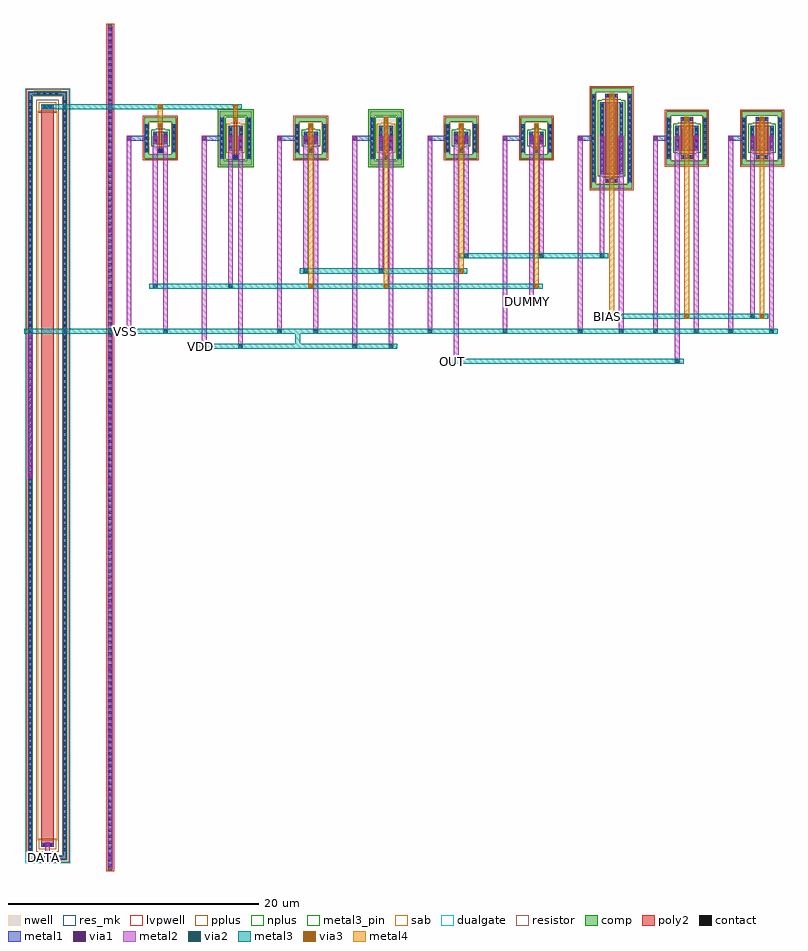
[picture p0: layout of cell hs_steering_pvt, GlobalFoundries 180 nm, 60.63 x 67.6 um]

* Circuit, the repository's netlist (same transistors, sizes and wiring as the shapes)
* NGSPICE file created from hs_steering_pvt.ext - technology: gf180mcuD

.subckt hs_steering_pvt DATA OUT VSS BIAS DUMMY
X0 VSS a_684_3900# a_3084_3900# VSS pfet_03v3 ad=0.88p pd=4.88u as=0.88p ps=4.88u w=2u l=0.28u
X1 a_n1100_4414# DATA VSS ppolyf_u_1k_6p0 r_width=1u r_length=58u
X2 a_5628_3900# a_3084_3900# OUT VSS nfet_03v3 ad=0.44p pd=2.88u as=0.44p ps=2.88u w=1u l=0.28u
X3 VSS a_684_3900# a_3084_3900# VSS nfet_03v3 ad=0.44p pd=2.88u as=0.44p ps=2.88u w=1u l=0.28u
X4 VSS a_n1100_4414# a_684_3900# VSS nfet_03v3 ad=0.44p pd=2.88u as=0.44p ps=2.88u w=1u l=0.28u
X5 a_5628_3900# a_684_3900# DUMMY VSS nfet_03v3 ad=0.44p pd=2.88u as=0.44p ps=2.88u w=1u l=0.28u
X6 VSS BIAS OUT VSS nfet_03v3 ad=0.88p pd=4.88u as=0.88p ps=4.88u w=2u l=1u
X7 VSS a_n1100_4414# a_684_3900# VSS pfet_03v3 ad=0.88p pd=4.88u as=0.88p ps=4.88u w=2u l=0.28u
X8 VSS BIAS a_5628_3900# VSS nfet_03v3 ad=2.5344p pd=12.4u as=2.5344p ps=12.4u w=5.76u l=1u
X9 VSS BIAS BIAS VSS nfet_03v3 ad=0.88p pd=4.88u as=0.88p ps=4.88u w=2u l=1u
.ends

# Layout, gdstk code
import gdstk
lib = gdstk.Library(unit=1e-6, precision=1e-09)
def R(c, l, rs):  # rectangles x0, y0, x1, y1
    for r in rs: c.add(gdstk.rectangle(r[:2], r[2:], *l))
def A(c, l, x, y, w, h, nx, ny, dx, dy):  # array of equal rectangles
    R(c, l, [(x+i*dx, y+j*dy, x+i*dx+w, y+j*dy+h) for i in range(nx) for j in range(ny)])
def P(c, l, *ps):  # polygons
    for p in ps: c.add(gdstk.Polygon(p, *l))
nwell = (21, 0)
comp = (22, 0)
poly2 = (30, 0)
pplus = (31, 0)
nplus = (32, 0)
contact = (33, 0)
metal1 = (34, 0)
via1 = (35, 0)
metal2 = (36, 0)
via2 = (38, 0)
via3 = (40, 0)
metal3 = (42, 0)
metal3_pin = (42, 10)
metal4 = (46, 0)
sab = (49, 0)
dualgate = (55, 0)
resistor = (62, 0)
res_mk = (110, 5)
lvpwell = (204, 0)

hs_steering_pvt = lib.new_cell('hs_steering_pvt')
R(hs_steering_pvt, nwell, [(8.61,17.73,11.39,22.27), (20.61,17.73,23.39,22.27)])
A(hs_steering_pvt, comp, 2.73, 18.35, 2.54, 0.36, 3, 2, 12, 2.94)
A(hs_steering_pvt, comp, 3.42, 19.5, 1.16, 1, 3, 1, 12, 0)
R(hs_steering_pvt, comp, [(-0.18,-38.36,0.18,29), (-6.56,-37.6,-3.44,-37.24), (-6.56,-37.24,-6.2,23.38), (-3.8,-37.24,-3.44,23.38), (38.37,15.97,41.63,16.33), (38.37,16.33,38.73,23.67), (41.27,16.33,41.63,23.67), (39.06,17.12,40.94,22.88), (8.73,17.85,11.27,18.21), (20.73,17.85,23.27,18.21), (44.37,17.85,47.63,18.21), (50.37,17.85,53.63,18.21), (8.73,18.21,9.09,21.79), (10.91,18.21,11.27,21.79), (20.73,18.21,21.09,21.79), (22.91,18.21,23.27,21.79), (44.37,18.21,44.73,21.79), (47.27,18.21,47.63,21.79), (50.37,18.21,50.73,21.79), (53.27,18.21,53.63,21.79), (32.73,18.35,35.27,18.71), (2.73,18.71,3.09,21.29), (4.91,18.71,5.27,21.29), (14.73,18.71,15.09,21.29), (16.91,18.71,17.27,21.29), (26.73,18.71,27.09,21.29), (28.91,18.71,29.27,21.29), (32.73,18.71,33.09,21.29), (34.91,18.71,35.27,21.29), (9.42,19,10.58,21), (21.42,19,22.58,21), (45.06,19,46.94,21), (51.06,19,52.94,21), (33.42,19.5,34.58,20.5), (32.73,21.29,35.27,21.65), (8.73,21.79,11.27,22.15), (20.73,21.79,23.27,22.15), (44.37,21.79,47.63,22.15), (50.37,21.79,53.63,22.15), (-6.56,23.38,-3.44,23.74), (38.37,23.67,41.63,24.03)])
A(hs_steering_pvt, poly2, 3.82, 18.82, 0.36, 0.36, 3, 2, 12, 2)
A(hs_steering_pvt, poly2, 3.86, 19.18, 0.28, 1.64, 3, 1, 12, 0)
R(hs_steering_pvt, poly2, [(-5.5,-36.54,-4.5,22.68), (39.5,16.44,40.5,23.56), (9.82,18.32,10.18,18.68), (21.82,18.32,22.18,18.68), (45.5,18.32,46.5,21.68), (51.5,18.32,52.5,21.68), (9.86,18.68,10.14,21.32), (21.86,18.68,22.14,21.32), (33.82,18.82,34.18,19.18), (33.86,19.18,34.14,20.82), (33.82,20.82,34.18,21.18), (9.82,21.32,10.18,21.68), (21.82,21.32,22.18,21.68)])
A(hs_steering_pvt, pplus, 2.71, 18.33, 2.58, 0.4, 3, 2, 12, 2.94)
R(hs_steering_pvt, pplus, [(-0.21,-38.39,0.21,29.03), (-6.075,-37.63,-3.925,-37.62), (-6.58,-37.62,-3.42,-37.21), (-6.58,-37.21,-6.17,-37.115), (-3.83,-37.21,-3.42,-37.115), (-6.59,-37.115,-6.17,23.255), (-3.83,-37.115,-3.41,23.255), (-5.7,-36.74,-4.3,-35.93), (38.35,15.95,41.65,16.35), (38.35,16.35,38.76,16.455), (41.24,16.35,41.65,16.455), (38.34,16.455,38.76,23.545), (41.24,16.455,41.66,23.545), (44.35,17.83,47.65,18.23), (50.35,17.83,53.65,18.23), (44.35,18.23,44.76,18.335), (47.24,18.23,47.65,18.335), (50.35,18.23,50.76,18.335), (53.24,18.23,53.65,18.335), (32.71,18.33,35.29,18.73), (44.34,18.335,44.76,21.665), (47.24,18.335,47.66,21.665), (50.34,18.335,50.76,21.665), (53.24,18.335,53.66,21.665), (2.71,18.73,3.12,18.835), (4.88,18.73,5.29,18.835), (14.71,18.73,15.12,18.835), (16.88,18.73,17.29,18.835), (26.71,18.73,27.12,18.835), (28.88,18.73,29.29,18.835), (32.71,18.73,33.12,18.835), (34.88,18.73,35.29,18.835), (9.63,18.77,10.37,18.84), (21.63,18.77,22.37,18.84), (2.7,18.835,3.12,21.165), (4.88,18.835,5.3,21.165), (14.7,18.835,15.12,21.165), (16.88,18.835,17.3,21.165), (26.7,18.835,27.12,21.165), (28.88,18.835,29.3,21.165), (32.7,18.835,33.12,21.165), (34.88,18.835,35.3,21.165), (9.26,18.84,10.74,21.16), (21.26,18.84,22.74,21.16), (9.63,21.16,10.37,21.23), (21.63,21.16,22.37,21.23), (2.71,21.165,3.12,21.27), (4.88,21.165,5.29,21.27), (14.71,21.165,15.12,21.27), (16.88,21.165,17.29,21.27), (26.71,21.165,27.12,21.27), (28.88,21.165,29.29,21.27), (32.71,21.165,33.12,21.27), (34.88,21.165,35.29,21.27), (32.71,21.27,35.29,21.67), (44.35,21.665,44.76,21.77), (47.24,21.665,47.65,21.77), (50.35,21.665,50.76,21.77), (53.24,21.665,53.65,21.77), (44.35,21.77,47.65,22.17), (50.35,21.77,53.65,22.17), (-5.7,22.07,-4.3,22.88), (-6.58,23.255,-6.17,23.35), (-3.83,23.255,-3.42,23.35), (-6.58,23.35,-3.42,23.76), (38.35,23.545,38.76,23.65), (41.24,23.545,41.65,23.65), (38.35,23.65,41.65,24.05), (-6.075,23.76,-3.925,23.77)])
A(hs_steering_pvt, nplus, 3.63, 19.27, 0.74, 0.07, 3, 2, 12, 1.39)
A(hs_steering_pvt, nplus, 3.26, 19.34, 1.48, 1.32, 3, 1, 12, 0)
R(hs_steering_pvt, nplus, [(39.27,16.89,40.73,16.96), (38.9,16.96,41.1,23.04), (8.57,17.69,11.43,18.32), (20.57,17.69,23.43,18.32), (8.57,18.32,9.2,21.68), (10.8,18.32,11.43,21.68), (20.57,18.32,21.2,21.68), (22.8,18.32,23.43,21.68), (45.27,18.77,46.73,18.84), (51.27,18.77,52.73,18.84), (44.9,18.84,47.1,21.16), (50.9,18.84,53.1,21.16), (33.63,19.27,34.37,19.34), (33.26,19.34,34.74,20.66), (33.63,20.66,34.37,20.73), (45.27,21.16,46.73,21.23), (51.27,21.16,52.73,21.23), (8.57,21.68,11.43,22.31), (20.57,21.68,23.43,22.31), (39.27,23.04,40.73,23.11)])
A(hs_steering_pvt, contact, -0.11, -38.16, 0.22, 0.22, 1, 143, 0, 0.47)
A(hs_steering_pvt, contact, -5.815, -37.53, 0.22, 0.22, 4, 2, 0.47, 60.98)
A(hs_steering_pvt, contact, -6.49, -36.885, 0.22, 0.22, 1, 128, 0, 0.47)
A(hs_steering_pvt, contact, -3.73, -36.885, 0.22, 0.22, 1, 128, 0, 0.47)
A(hs_steering_pvt, contact, 38.44, 16.6, 0.22, 0.22, 1, 15, 0, 0.47)
A(hs_steering_pvt, contact, 41.34, 16.6, 0.22, 0.22, 1, 15, 0, 0.47)
A(hs_steering_pvt, contact, 39.13, 17.305, 0.22, 0.22, 1, 12, 0, 0.47)
A(hs_steering_pvt, contact, 40.65, 17.305, 0.22, 0.22, 1, 12, 0, 0.47)
A(hs_steering_pvt, contact, 8.8, 18.48, 0.22, 0.22, 1, 7, 0, 0.47)
A(hs_steering_pvt, contact, 10.98, 18.48, 0.22, 0.22, 1, 7, 0, 0.47)
A(hs_steering_pvt, contact, 20.8, 18.48, 0.22, 0.22, 1, 7, 0, 0.47)
A(hs_steering_pvt, contact, 22.98, 18.48, 0.22, 0.22, 1, 7, 0, 0.47)
A(hs_steering_pvt, contact, 44.44, 18.48, 0.22, 0.22, 1, 7, 0, 0.47)
A(hs_steering_pvt, contact, 47.34, 18.48, 0.22, 0.22, 1, 7, 0, 0.47)
A(hs_steering_pvt, contact, 50.44, 18.48, 0.22, 0.22, 1, 7, 0, 0.47)
A(hs_steering_pvt, contact, 53.34, 18.48, 0.22, 0.22, 1, 7, 0, 0.47)
A(hs_steering_pvt, contact, 3.89, 18.89, 0.22, 0.22, 3, 2, 12, 2)
A(hs_steering_pvt, contact, 2.8, 18.95, 0.22, 0.22, 1, 5, 0, 0.47)
A(hs_steering_pvt, contact, 4.98, 18.95, 0.22, 0.22, 1, 5, 0, 0.47)
A(hs_steering_pvt, contact, 14.8, 18.95, 0.22, 0.22, 1, 5, 0, 0.47)
A(hs_steering_pvt, contact, 16.98, 18.95, 0.22, 0.22, 1, 5, 0, 0.47)
A(hs_steering_pvt, contact, 26.8, 18.95, 0.22, 0.22, 1, 5, 0, 0.47)
A(hs_steering_pvt, contact, 28.98, 18.95, 0.22, 0.22, 1, 5, 0, 0.47)
A(hs_steering_pvt, contact, 32.8, 18.95, 0.22, 0.22, 1, 5, 0, 0.47)
A(hs_steering_pvt, contact, 34.98, 18.95, 0.22, 0.22, 1, 5, 0, 0.47)
A(hs_steering_pvt, contact, 9.49, 19.185, 0.22, 0.22, 1, 4, 0, 0.47)
A(hs_steering_pvt, contact, 10.29, 19.185, 0.22, 0.22, 1, 4, 0, 0.47)
A(hs_steering_pvt, contact, 21.49, 19.185, 0.22, 0.22, 1, 4, 0, 0.47)
A(hs_steering_pvt, contact, 22.29, 19.185, 0.22, 0.22, 1, 4, 0, 0.47)
A(hs_steering_pvt, contact, 45.13, 19.185, 0.22, 0.22, 1, 4, 0, 0.47)
A(hs_steering_pvt, contact, 46.65, 19.185, 0.22, 0.22, 1, 4, 0, 0.47)
A(hs_steering_pvt, contact, 51.13, 19.185, 0.22, 0.22, 1, 4, 0, 0.47)
A(hs_steering_pvt, contact, 52.65, 19.185, 0.22, 0.22, 1, 4, 0, 0.47)
R(hs_steering_pvt, contact, [(-5.345,-36.47,-5.125,-36.25), (-4.875,-36.47,-4.655,-36.25), (39.655,16.51,39.875,16.73), (40.125,16.51,40.345,16.73), (9.89,18.39,10.11,18.61), (21.89,18.39,22.11,18.61), (45.655,18.39,45.875,18.61), (46.125,18.39,46.345,18.61), (51.655,18.39,51.875,18.61), (52.125,18.39,52.345,18.61), (33.89,18.89,34.11,19.11), (3.49,19.655,3.71,19.875), (4.29,19.655,4.51,19.875), (15.49,19.655,15.71,19.875), (16.29,19.655,16.51,19.875), (27.49,19.655,27.71,19.875), (28.29,19.655,28.51,19.875), (33.49,19.655,33.71,19.875), (34.29,19.655,34.51,19.875), (3.49,20.125,3.71,20.345), (4.29,20.125,4.51,20.345), (15.49,20.125,15.71,20.345), (16.29,20.125,16.51,20.345), (27.49,20.125,27.71,20.345), (28.29,20.125,28.51,20.345), (33.49,20.125,33.71,20.345), (34.29,20.125,34.51,20.345), (33.89,20.89,34.11,21.11), (9.89,21.39,10.11,21.61), (21.89,21.39,22.11,21.61), (45.655,21.39,45.875,21.61), (46.125,21.39,46.345,21.61), (51.655,21.39,51.875,21.61), (52.125,21.39,52.345,21.61), (-5.345,22.39,-5.125,22.61), (-4.875,22.39,-4.655,22.61), (39.655,23.27,39.875,23.49), (40.125,23.27,40.345,23.49)])
A(hs_steering_pvt, metal1, 3.81, 18.81, 0.38, 0.38, 3, 2, 12, 2)
A(hs_steering_pvt, metal1, 2.795, 18.875, 0.23, 0.935, 3, 2, 12, 1.315)
A(hs_steering_pvt, metal1, 4.975, 18.875, 0.23, 2.25, 3, 1, 12, 0)
A(hs_steering_pvt, metal1, 1.31, 19.81, 1.72, 0.38, 6, 1, 6, 0)
A(hs_steering_pvt, metal1, 37.31, 19.81, 1.36, 0.38, 3, 1, 6, 0)
R(hs_steering_pvt, metal1, [(-0.19,-38.295,0.19,28.935), (-6.495,-37.535,-3.505,-37.305), (-6.495,-37.305,-6.265,-7.12), (-3.735,-37.305,-3.505,23.445), (-5.19,-36.55,-4.81,-36.475), (-5.49,-36.475,-4.51,-36.245), (-5.19,-36.245,-4.81,-36.17), (-6.57,-7.12,-6.19,-6.74), (-6.495,-6.74,-6.265,23.445), (39.81,16.43,40.19,16.505), (38.435,16.495,38.665,19.81), (41.335,16.495,41.565,23.505), (39.51,16.505,40.49,16.735), (39.81,16.735,40.19,16.81), (39.125,17.13,39.355,19.81), (40.645,17.13,40.875,19.81), (9.81,18.31,10.19,18.69), (21.81,18.31,22.19,18.69), (45.81,18.31,46.19,18.385), (51.81,18.31,52.19,18.385), (8.795,18.375,9.025,19.81), (10.975,18.375,11.205,21.625), (20.795,18.375,21.025,19.81), (22.975,18.375,23.205,21.625), (44.435,18.375,44.665,19.81), (47.335,18.375,47.565,21.625), (50.435,18.375,50.665,19.81), (53.335,18.375,53.565,21.625), (45.51,18.385,46.49,18.615), (51.51,18.385,52.49,18.615), (45.81,18.615,46.19,18.69), (51.81,18.615,52.19,18.69), (33.81,18.81,34.19,19.19), (32.795,18.875,33.025,19.81), (34.975,18.875,35.205,21.125), (9.485,19.01,9.715,19.81), (10.285,19.01,10.515,19.81), (21.485,19.01,21.715,19.81), (22.285,19.01,22.515,19.81), (45.125,19.01,45.355,19.81), (46.645,19.01,46.875,19.81), (51.125,19.01,51.355,19.81), (52.645,19.01,52.875,19.81), (3.485,19.51,3.715,19.81), (4.285,19.51,4.515,19.81), (15.485,19.51,15.715,19.81), (16.285,19.51,16.515,19.81), (27.485,19.51,27.715,19.81), (28.285,19.51,28.515,19.81), (33.485,19.51,33.715,19.81), (34.285,19.51,34.515,19.81), (3.41,19.81,3.79,20.19), (4.21,19.81,4.59,20.19), (9.41,19.81,9.79,20.19), (10.21,19.81,10.59,20.19), (15.41,19.81,15.79,20.19), (16.21,19.81,16.59,20.19), (21.41,19.81,21.79,20.19), (22.21,19.81,22.59,20.19), (27.41,19.81,27.79,20.19), (28.21,19.81,28.59,20.19), (33.41,19.81,33.79,20.19), (34.21,19.81,34.59,20.19), (39.05,19.81,39.43,20.19), (40.57,19.81,40.95,20.19), (45.05,19.81,45.43,20.19), (46.57,19.81,46.95,20.19), (51.05,19.81,51.43,20.19), (52.57,19.81,52.95,20.19), (3.485,20.19,3.715,20.49), (4.285,20.19,4.515,20.49), (8.795,20.19,9.025,21.625), (9.485,20.19,9.715,20.99), (10.285,20.19,10.515,20.99), (15.485,20.19,15.715,20.49), (16.285,20.19,16.515,20.49), (20.795,20.19,21.025,21.625), (21.485,20.19,21.715,20.99), (22.285,20.19,22.515,20.99), (27.485,20.19,27.715,20.49), (28.285,20.19,28.515,20.49), (32.795,20.19,33.025,21.125), (33.485,20.19,33.715,20.49), (34.285,20.19,34.515,20.49), (38.435,20.19,38.665,23.505), (39.125,20.19,39.355,22.87), (40.645,20.19,40.875,22.87), (44.435,20.19,44.665,21.625), (45.125,20.19,45.355,20.99), (46.645,20.19,46.875,20.99), (50.435,20.19,50.665,21.625), (51.125,20.19,51.355,20.99), (52.645,20.19,52.875,20.99), (33.81,20.81,34.19,21.19), (9.81,21.31,10.19,21.69), (21.81,21.31,22.19,21.69), (45.81,21.31,46.19,21.385), (51.81,21.31,52.19,21.385), (45.51,21.385,46.49,21.615), (51.51,21.385,52.49,21.615), (45.81,21.615,46.19,21.69), (51.81,21.615,52.19,21.69), (-5.19,22.31,-4.81,22.385), (-5.49,22.385,-4.51,22.615), (-5.19,22.615,-4.81,22.69), (39.81,23.19,40.19,23.265), (39.51,23.265,40.49,23.495), (-6.495,23.445,-3.505,23.675), (39.81,23.495,40.19,23.57)])
A(hs_steering_pvt, via1, -0.13, -37.49, 0.26, 0.26, 1, 14, 0, 5)
A(hs_steering_pvt, via1, 3.87, 20.87, 0.26, 0.26, 3, 1, 12, 0)
R(hs_steering_pvt, via1, [(-5.13,-36.49,-4.87,-36.23), (-6.51,-7.06,-6.25,-6.8), (1.37,19.87,1.63,20.13), (3.47,19.87,3.73,20.13), (4.27,19.87,4.53,20.13), (7.37,19.87,7.63,20.13), (9.47,19.87,9.73,20.13), (10.27,19.87,10.53,20.13), (13.37,19.87,13.63,20.13), (15.47,19.87,15.73,20.13), (16.27,19.87,16.53,20.13), (19.37,19.87,19.63,20.13), (21.47,19.87,21.73,20.13), (22.27,19.87,22.53,20.13), (25.37,19.87,25.63,20.13), (27.47,19.87,27.73,20.13), (28.27,19.87,28.53,20.13), (31.37,19.87,31.63,20.13), (33.47,19.87,33.73,20.13), (34.27,19.87,34.53,20.13), (37.37,19.87,37.63,20.13), (39.11,19.87,39.37,20.13), (40.63,19.87,40.89,20.13), (43.37,19.87,43.63,20.13), (45.11,19.87,45.37,20.13), (46.63,19.87,46.89,20.13), (49.37,19.87,49.63,20.13), (51.11,19.87,51.37,20.13), (52.63,19.87,52.89,20.13), (33.87,20.87,34.13,21.13), (9.87,21.37,10.13,21.63), (21.87,21.37,22.13,21.63), (45.87,21.37,46.13,21.63), (51.87,21.37,52.13,21.63), (-5.13,22.37,-4.87,22.63), (39.87,23.25,40.13,23.51)])
A(hs_steering_pvt, metal2, 25.31, 4.41, 0.38, 15.78, 3, 1, 6, 0)
A(hs_steering_pvt, metal2, 3.81, 20.81, 0.38, 0.38, 3, 1, 12, 0)
R(hs_steering_pvt, metal2, [(-0.19,-38.295,0.19,28.935), (-5.19,-37.55,-4.81,-36.17), (-6.57,-7.12,-6.19,4.79), (27.41,2.01,27.79,20.19), (45.05,2.01,45.43,20.19), (7.31,3.21,7.69,20.19), (10.21,3.21,10.59,20.19), (19.31,3.21,19.69,20.19), (22.21,3.21,22.59,20.19), (1.31,4.41,1.69,20.19), (4.21,4.41,4.59,20.19), (13.31,4.41,13.69,20.19), (16.21,4.41,16.59,20.19), (40.57,4.41,40.95,20.19), (43.31,4.41,43.69,20.19), (46.57,4.41,46.95,20.19), (49.31,4.41,49.69,20.19), (52.57,4.41,52.95,20.19), (51.05,5.61,51.43,20.19), (33.41,6.81,33.79,20.19), (3.41,8.01,3.79,20.19), (9.41,8.01,9.79,20.19), (15.41,9.21,15.79,20.19), (21.41,9.21,21.79,20.19), (28.21,10.41,28.59,20.19), (34.21,10.41,34.59,20.19), (39.05,10.41,39.43,20.19), (33.81,20.81,34.19,21.19), (9.81,21.31,10.19,21.69), (21.81,21.31,22.19,21.69), (45.81,21.31,46.19,21.69), (51.81,21.31,52.19,21.69), (-5.19,22.31,-4.81,22.69), (39.81,23.19,40.19,23.57)])
A(hs_steering_pvt, via2, 25.37, 4.47, 0.26, 0.26, 3, 1, 6, 0)
A(hs_steering_pvt, via2, 3.87, 20.87, 0.26, 0.26, 3, 1, 12, 0)
R(hs_steering_pvt, via2, [(-5.13,-37.49,-4.87,-37.23), (27.47,2.07,27.73,2.33), (45.11,2.07,45.37,2.33), (7.37,3.27,7.63,3.53), (10.27,3.27,10.53,3.53), (19.37,3.27,19.63,3.53), (22.27,3.27,22.53,3.53), (-6.51,4.47,-6.25,4.73), (-0.13,4.47,0.13,4.73), (1.37,4.47,1.63,4.73), (4.27,4.47,4.53,4.73), (13.37,4.47,13.63,4.73), (16.27,4.47,16.53,4.73), (40.63,4.47,40.89,4.73), (43.37,4.47,43.63,4.73), (46.63,4.47,46.89,4.73), (49.37,4.47,49.63,4.73), (52.63,4.47,52.89,4.73), (51.11,5.67,51.37,5.93), (33.47,6.87,33.73,7.13), (3.47,8.07,3.73,8.33), (9.47,8.07,9.73,8.33), (15.47,9.27,15.73,9.53), (21.47,9.27,21.73,9.53), (28.27,10.47,28.53,10.73), (34.27,10.47,34.53,10.73), (39.11,10.47,39.37,10.73), (33.87,20.87,34.13,21.13), (9.87,21.37,10.13,21.63), (21.87,21.37,22.13,21.63), (45.87,21.37,46.13,21.63), (51.87,21.37,52.13,21.63), (-5.13,22.37,-4.87,22.63), (39.87,23.25,40.13,23.51)])
A(hs_steering_pvt, via3, 39.87, 5.67, 0.26, 0.26, 3, 1, 6, 0)
A(hs_steering_pvt, via3, 3.87, 20.87, 0.26, 0.26, 3, 1, 12, 0)
R(hs_steering_pvt, via3, [(15.87,8.07,16.13,8.33), (21.87,8.07,22.13,8.33), (33.87,8.07,34.13,8.33), (27.87,9.27,28.13,9.53), (33.87,20.87,34.13,21.13), (9.87,21.37,10.13,21.63), (21.87,21.37,22.13,21.63), (45.87,21.37,46.13,21.63), (51.87,21.37,52.13,21.63), (3.87,22.37,4.13,22.63), (9.87,22.37,10.13,22.63), (39.87,23.25,40.13,23.51)])
A(hs_steering_pvt, metal3, 3.81, 20.81, 0.38, 0.38, 3, 1, 12, 0)
R(hs_steering_pvt, metal3, [(-5.5,-37.56,-4.5,-37.16), (27.1,2,45.74,2.4), (39.5,5.6,52.5,6), (33.1,6.8,34.1,7.2), (3.1,8,34.5,8.4), (15.1,9.2,28.5,9.6), (27.9,10.4,39.74,10.8), (33.81,20.81,34.19,21.19), (9.81,21.31,10.19,21.69), (21.81,21.31,22.19,21.69), (45.81,21.31,46.19,21.69), (51.81,21.31,52.19,21.69), (-5.5,22.3,10.5,22.7), (39.81,23.19,40.19,23.57)])
P(hs_steering_pvt, metal3, [(7,3.2),(7,3.6),(14.75,3.6),(14.75,4.4),(-6.88,4.4),(-6.88,4.8),(53.26,4.8),(53.26,4.4),(15.15,4.4),(15.15,3.6),(22.9,3.6),(22.9,3.2)])
R(hs_steering_pvt, metal3_pin, [(-5.4,-37.46,-5.2,-37.26), (27.2,2.1,27.4,2.3), (7.1,3.3,7.3,3.5), (1.1,4.5,1.3,4.7), (39.6,5.7,39.8,5.9), (33.2,6.9,33.4,7.1)])
R(hs_steering_pvt, metal4, [(39.81,5.61,40.19,23.57), (45.81,5.61,46.19,21.69), (51.81,5.61,52.19,21.69), (15.81,8.01,16.19,21.19), (21.81,8.01,22.19,21.69), (33.81,8.01,34.19,21.19), (27.81,9.21,28.19,21.19), (3.81,20.81,4.19,22.69), (9.81,21.31,10.19,22.69)])
R(hs_steering_pvt, sab, [(-5.78,-36.03,-4.22,22.17), (-5.78,-35.93,-4.22,22.07)])
R(hs_steering_pvt, dualgate, [(-6.8,-37.84,-3.2,23.98)])
R(hs_steering_pvt, resistor, [(-5.9,-36.94,-4.1,23.08)])
R(hs_steering_pvt, res_mk, [(-5.78,-35.93,-4.22,22.07), (-5.5,-35.93,-4.5,22.07)])
A(hs_steering_pvt, lvpwell, 2.61, 18.23, 2.78, 3.54, 3, 1, 12, 0)
R(hs_steering_pvt, lvpwell, [(-0.3,-38.48,0.3,29.12), (-6.72,-37.76,-3.28,23.9), (38.25,15.85,41.75,24.15), (44.25,17.73,47.75,22.27), (50.25,17.73,53.75,22.27), (32.61,18.23,35.39,21.77)])
hs_steering_pvt.add(gdstk.Label('DATA', (-5.3,-37.36), layer=42, texttype=10))
hs_steering_pvt.add(gdstk.Label('OUT', (27.3,2.2), layer=42, texttype=10))
hs_steering_pvt.add(gdstk.Label('VDD', (7.2,3.4), layer=42, texttype=10))
hs_steering_pvt.add(gdstk.Label('VSS', (1.2,4.6), layer=42, texttype=10))
hs_steering_pvt.add(gdstk.Label('BIAS', (39.7,5.8), layer=42, texttype=10))
hs_steering_pvt.add(gdstk.Label('DUMMY', (33.3,7), layer=42, texttype=10))

lib.write_gds('hs_steering_pvt.gds')
